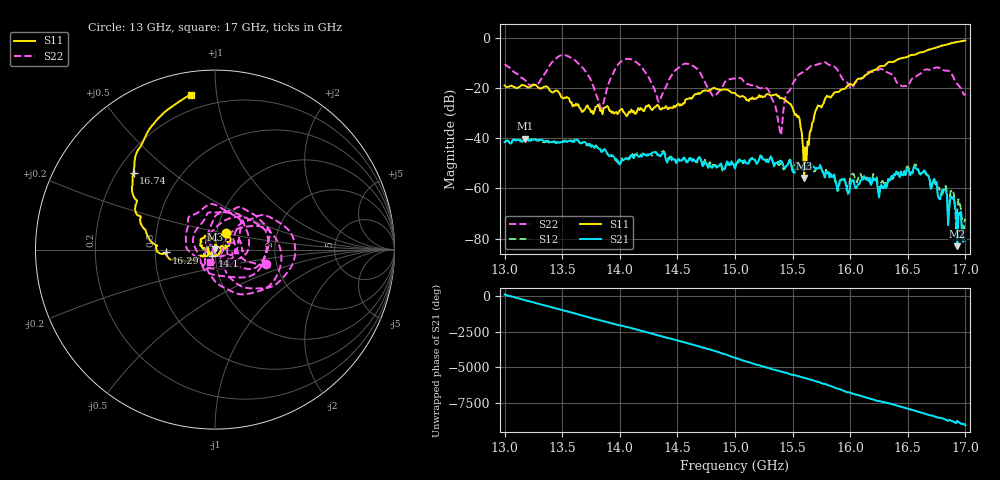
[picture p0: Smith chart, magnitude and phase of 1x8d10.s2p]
!Keysight Technologies,P9374A,MY57211807,A.19.30.04
!Date: Friday, May 08, 2026 15:18:00
!Correction: S11(C  2-Port  )
!S21(C  2-Port  )
!S12(C  2-Port  )
!S22(C  2-Port  )
!S2P File: Measurements: S11, S21, S12, S22:
# Hz S  dB  R 50
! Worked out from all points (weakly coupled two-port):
!   401 points, 13 GHz to 17 GHz, reference 50 ohm
!   highest |S21| = -40.24 dB at 13.18 GHz (marker M1); lowest = -83.0 dB at 16.93 GHz (marker M2)
!   lowest |S11| = -55.9 dB at 15.6 GHz (marker M3), VSWR 1.00, Z = 50.1 + j0.118 ohm
!   |S11| at or under -10 dB: start of sweep to 16.33 GHz
!   |S22| runs from -38.8 to -7.0 dB; largest |S21 - S12| = 0.0012
!   S11 on the Smith chart (normalised r, x): 13 GHz: 1.11, +0.21; 14.1 GHz: 0.97, -0.07; 16.29 GHz: 0.57, -0.02; 16.74 GHz: 0.27, +0.37; 17 GHz: 0.12, +0.85
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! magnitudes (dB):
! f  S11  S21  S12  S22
! 13 GHz  -19.1  -41.6  -41.7  -10.6
! 13.18 GHz  -19.3  -40.2  -39.6  -17.1
! 13.49 GHz  -23.7  -41.5  -41.7  -7.1
! 13.67 GHz  -29.6  -42.0  -42.0  -11.7
! 13.84 GHz  -28.8  -45.5  -45.2  -28.3
! 13.97 GHz  -29.6  -48.4  -49.1  -11.7
! 14.1 GHz  -28.7  -46.7  -46.1  -8.7
! 14.34 GHz  -27.6  -46.6  -46.9  -25.6
! 14.56 GHz  -26.3  -47.8  -48.5  -10.5
! 14.82 GHz  -20.0  -50.8  -50.7  -23.3
! 15 GHz  -22.1  -52.2  -52.0  -16.4
! 15.28 GHz  -22.5  -49.2  -48.5  -20.3
! 15.39 GHz  -24.2  -49.0  -50.3  -37.3
! 15.55 GHz  -31.3  -51.4  -50.2  -15.0
! 15.6 GHz  -55.9  -51.7  -52.2  -13.5
! 15.67 GHz  -34.0  -51.0  -52.7  -11.2
! 16.01 GHz  -18.7  -57.4  -55.0  -20.2
! 16.29 GHz  -11.3  -60.0  -57.9  -13.0
! 16.34 GHz  -9.7  -57.0  -57.2  -14.2
! 16.74 GHz  -4.1  -57.7  -58.6  -12.0
! 16.93 GHz  -1.8  -83.0  -68.6  -18.4
! 17 GHz  -1.2  -80.7  -72.0  -22.4
